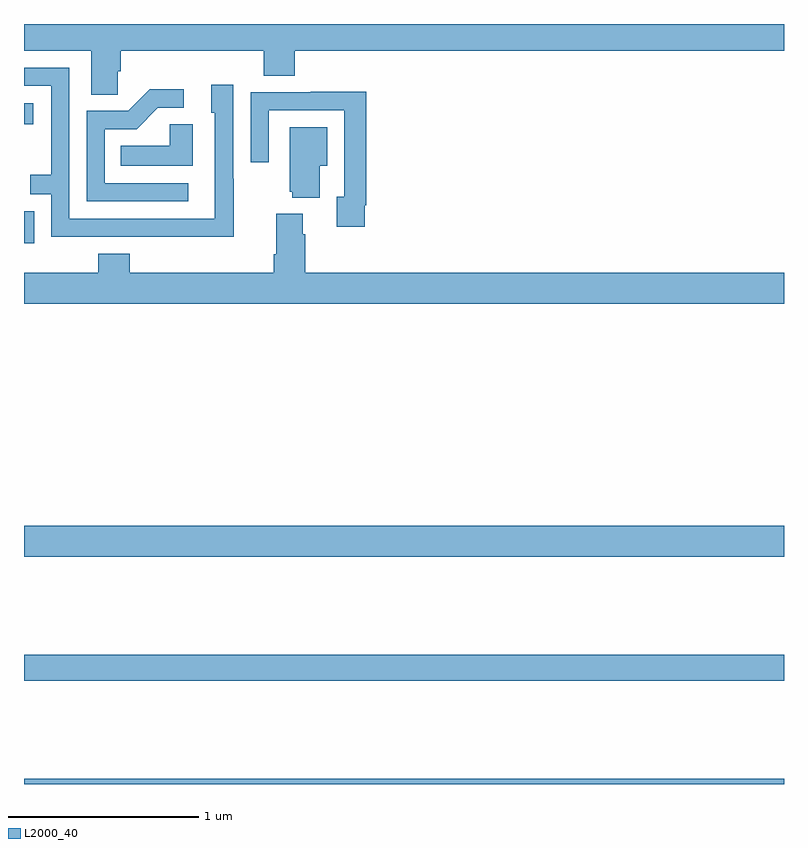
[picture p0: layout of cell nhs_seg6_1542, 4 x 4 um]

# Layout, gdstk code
import gdstk
lib = gdstk.Library(unit=1e-6, precision=1e-09)
def R(c, l, rs):  # rectangles x0, y0, x1, y1
    for r in rs: c.add(gdstk.rectangle(r[:2], r[2:], *l))
def P(c, l, *ps):  # polygons
    for p in ps: c.add(gdstk.Polygon(p, *l))
L2000_40 = (2000, 40)

nhs_seg6_1542 = lib.new_cell('nhs_seg6_1542')
R(nhs_seg6_1542, L2000_40, [(205,919.5,209,919.528), (205,920.044,209,920.18), (205,920.696,209,920.86), (205,922.347,205.053,922.515), (205,922.973,205.048,923.083)])
P(nhs_seg6_1542, L2000_40, [(205.494,923.251),(205.508,923.251),(205.508,923.36),(206.261,923.36),(206.261,923.227),(206.426,923.227),(206.426,923.36),(209,923.36),(209,923.5),(205,923.5),(205,923.36),(205.355,923.36),(205.355,923.128),(205.494,923.128)],
  [(206.103,922.685),(206.1,922.685),(206.1,923.179),(205.985,923.179),(205.985,923.034),(206.004,923.034),(206.004,922.476),(205.239,922.476),(205.239,923.271),(205,923.271),(205,923.175),(205.143,923.175),(205.143,922.706),(205.033,922.706),(205.033,922.605),(205.143,922.605),(205.143,922.38),(205.639,922.38),(205.639,922.379),(206.103,922.379)],
  [(205.864,922.662),(205.425,922.662),(205.425,922.947),(205.594,922.947),(205.705,923.058),(205.84,923.058),(205.84,923.156),(205.661,923.156),(205.548,923.043),(205.329,923.043),(205.329,922.566),(205.864,922.566)],
  [(206.794,922.546),(206.801,922.546),(206.801,923.144),(206.509,923.144),(206.509,923.142),(206.193,923.142),(206.193,922.773),(206.289,922.773),(206.289,923.046),(206.685,923.046),(206.685,922.59),(206.645,922.59),(206.645,922.434),(206.794,922.434)],
  [(205.888,922.973),(205.767,922.973),(205.767,922.858),(205.51,922.858),(205.51,922.754),(205.888,922.754)],
  [(206.557,922.754),(206.596,922.754),(206.596,922.957),(206.399,922.957),(206.399,922.617),(206.411,922.617),(206.411,922.586),(206.557,922.586)],
  [(209,922.192),(206.48,922.192),(206.48,922.394),(206.467,922.394),(206.467,922.501),(206.327,922.501),(206.327,922.288),(206.315,922.288),(206.315,922.192),(205.556,922.192),(205.556,922.291),(205.391,922.291),(205.391,922.192),(205,922.192),(205,922.028),(209,922.028)])

lib.write_gds('nhs_seg6_1542.gds')
